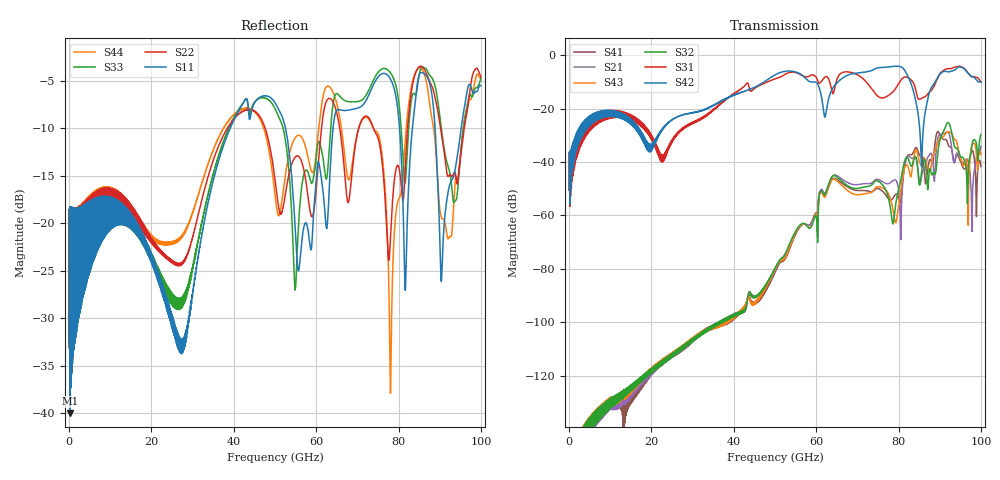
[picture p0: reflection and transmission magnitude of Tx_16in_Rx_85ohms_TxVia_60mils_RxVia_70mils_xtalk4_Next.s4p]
! Info: Touchstone file created by Circ.  Input file=Tx_16in_Rx_85ohms_TxVia_60mils_RxVia_70mils.circ
# Hz S RI R 50
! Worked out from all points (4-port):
!   10000 points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, 10 MHz to 100 GHz, reference 50 ohm
!   strongest paths, dB at 10 MHz, 25.01 GHz, 50.01 GHz, 75.01 GHz, 100 GHz:
!     S42: -50.6, -24.2, -7.4, -4.7, -10.0
!     S31: -50.6, -31.8, -8.9, -15.4, -10.2
!     S32: -195.4, -112.9, -79.9, -47.1, -29.7
!     S43: -159.3, -112.6, -80.4, -49.2, -37.2
!     S21: -196.0, -112.9, -80.7, -46.5, -34.1
!     S41: -161.1, -113.0, -81.4, -49.9, -41.7
!   lowest |S11| = -40.0 dB at 200 MHz (marker M1), VSWR 1.02, Z = 49.2 - j0.586 ohm
!   |S11| at or under -10 dB: start of sweep to 39.12 GHz; 52.56 GHz to 64.09 GHz (11.53 GHz wide, 19.8 % of centre); 88.87 GHz to 95.21 GHz (6.335 GHz wide, 6.88 % of centre) (the widest 3 of 4)
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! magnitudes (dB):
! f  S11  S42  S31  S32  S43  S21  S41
! 10 MHz  -33.0  -50.6  -50.6  -195.4  -159.3  -196.0  -161.1
! 200 MHz  -40.0  -44.6  -44.6  -169.5  -170.0  -171.5  -170.1
! 49.57 GHz  -7.0  -7.8  -9.1  -81.2  -81.8  -82.0  -82.9
! 64.26 GHz  -9.4  -11.8  -13.9  -45.1  -46.4  -44.9  -46.1
! 80.56 GHz  -12.1  -4.3  -9.4  -46.8  -50.4  -68.9  -54.3
! 85.58 GHz  -4.1  -41.7  -16.1  -43.9  -40.8  -45.3  -37.7
! 100 GHz  -5.5  -10.0  -10.2  -29.7  -37.2  -34.1  -41.7
